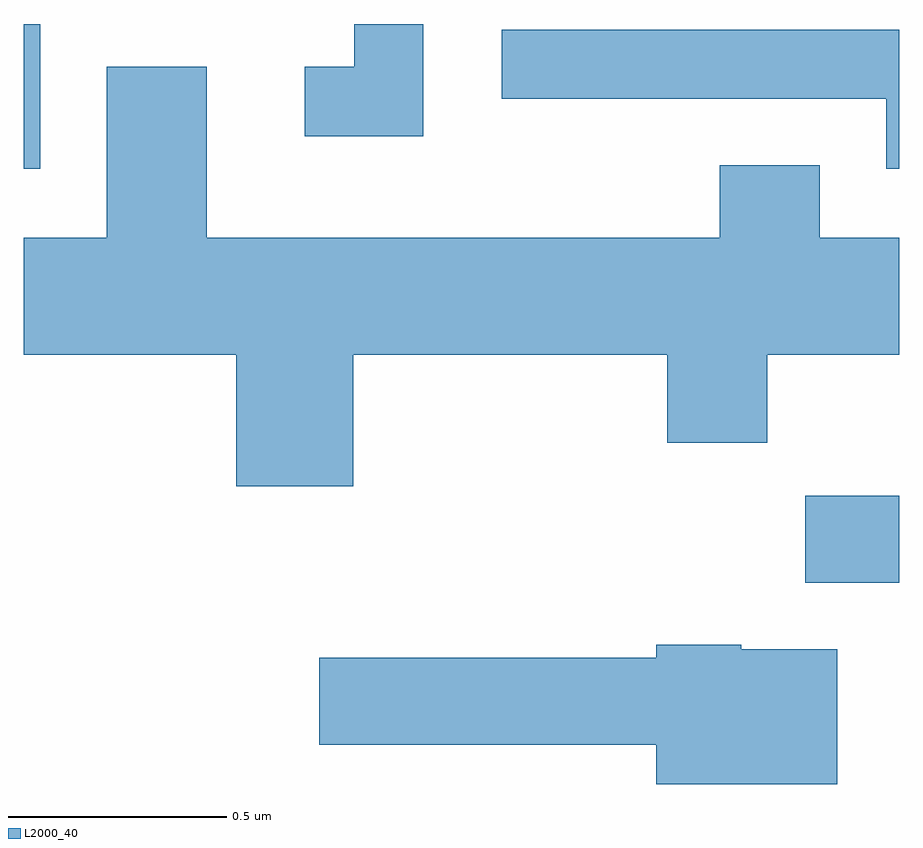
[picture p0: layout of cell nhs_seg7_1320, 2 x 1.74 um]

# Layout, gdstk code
import gdstk
lib = gdstk.Library(unit=1e-6, precision=1e-09)
def R(c, l, rs):  # rectangles x0, y0, x1, y1
    for r in rs: c.add(gdstk.rectangle(r[:2], r[2:], *l))
def P(c, l, *ps):  # polygons
    for p in ps: c.add(gdstk.Polygon(p, *l))
L2000_40 = (2000, 40)

nhs_seg7_1320 = lib.new_cell('nhs_seg7_1320')
R(nhs_seg7_1320, L2000_40, [(196.396,1755.976,196.611,1756.174), (194.611,1756.921,194.649,1757.252)])
P(nhs_seg7_1320, L2000_40, [(195.524,1757.252),(195.366,1757.252),(195.366,1757.154),(195.253,1757.154),(195.253,1756.996),(195.524,1756.996)],
  [(196.611,1757.239),(195.703,1757.239),(195.703,1757.081),(196.581,1757.081),(196.581,1756.921),(196.611,1756.921)],
  [(195.364,1756.496),(196.081,1756.496),(196.081,1756.296),(196.309,1756.296),(196.309,1756.496),(196.611,1756.496),(196.611,1756.764),(196.429,1756.764),(196.429,1756.929),(196.201,1756.929),(196.201,1756.764),(195.029,1756.764),(195.029,1757.154),(194.801,1757.154),(194.801,1756.764),(194.611,1756.764),(194.611,1756.496),(195.096,1756.496),(195.096,1756.196),(195.364,1756.196)],
  [(196.469,1755.824),(196.25,1755.824),(196.25,1755.834),(196.056,1755.834),(196.056,1755.804),(195.286,1755.804),(195.286,1755.606),(196.056,1755.606),(196.056,1755.516),(196.469,1755.516)])

lib.write_gds('nhs_seg7_1320.gds')
